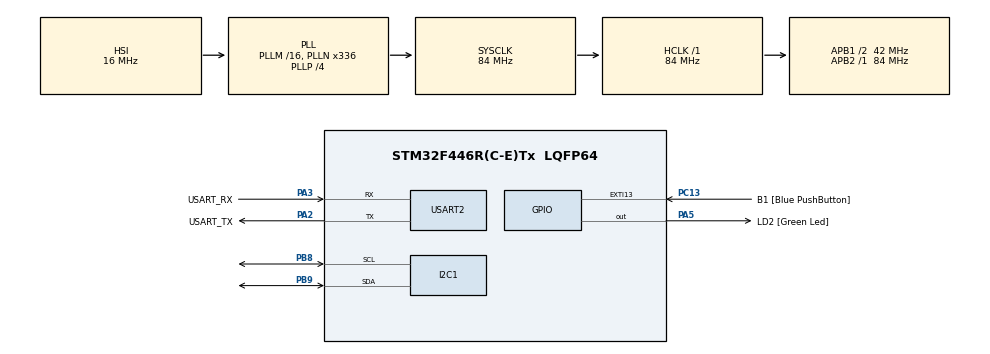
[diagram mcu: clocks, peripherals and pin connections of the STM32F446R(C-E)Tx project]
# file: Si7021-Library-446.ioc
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Mcu.Family=STM32F4
Mcu.Name=STM32F446R(C-E)Tx
Mcu.Package=LQFP64
NVIC.PriorityGroup=NVIC_PRIORITYGROUP_0
PA13.GPIO_Label=TMS
PA13.Mode=Serial_Wire
PA13.Signal=SYS_JTMS-SWDIO
PA14.GPIO_Label=TCK
PA14.Mode=Serial_Wire
PA14.Signal=SYS_JTCK-SWCLK
PA2.GPIO_Label=USART_TX
PA2.Mode=Asynchronous
PA2.Signal=USART2_TX
PA3.GPIO_Label=USART_RX
PA3.Mode=Asynchronous
PA3.Signal=USART2_RX
PA5.GPIO_Label=LD2 [Green Led]
PA5.Signal=GPIO_Output
PB3.GPIO_Label=SWO
PB3.Signal=SYS_JTDO-SWO
PB8.Mode=I2C
PB8.Signal=I2C1_SCL
PB9.Mode=I2C
PB9.Signal=I2C1_SDA
PC13.GPIO_Label=B1 [Blue PushButton]
PC13.GPIO_ModeDefaultEXTI=GPIO_MODE_IT_FALLING
PC13.Signal=GPXTI13
PC14-OSC32_IN.Mode=LSE-External-Oscillator
PC14-OSC32_IN.Signal=RCC_OSC32_IN
PC15-OSC32_OUT.Mode=LSE-External-Oscillator
PC15-OSC32_OUT.Signal=RCC_OSC32_OUT
PH0-OSC_IN.Mode=HSE-External-Oscillator
PH0-OSC_IN.Signal=RCC_OSC_IN
PH1-OSC_OUT.Mode=HSE-External-Oscillator
PH1-OSC_OUT.Signal=RCC_OSC_OUT
ProjectManager.HeapSize=0x200
ProjectManager.StackSize=0x400
ProjectManager.TargetToolchain=STM32CubeIDE
RCC.48MHZClocksFreq_Value=84000000
RCC.AHBFreq_Value=84000000
RCC.APB1CLKDivider=RCC_HCLK_DIV2
RCC.APB1Freq_Value=42000000
RCC.APB1TimFreq_Value=84000000
RCC.APB2Freq_Value=84000000
RCC.APB2TimFreq_Value=84000000
RCC.CortexFreq_Value=84000000
RCC.FLatency-AdvancedSettings=FLASH_LATENCY_2
RCC.HCLKFreq_Value=84000000
RCC.HSE_VALUE=8000000
RCC.HSI_VALUE=16000000
RCC.PLLN=336
RCC.PLLP=RCC_PLLP_DIV4
RCC.SYSCLKFreq_VALUE=84000000
RCC.SYSCLKSource=RCC_SYSCLKSOURCE_PLLCLK
RCC.USBFreq_Value=168000000
RCC.VCOOutputFreq_Value=336000000
USART2.VirtualMode=VM_ASYNC
board=NUCLEO-F446RE

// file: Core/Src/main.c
/* USER CODE BEGIN Header */
/**
  ******************************************************************************
  * @file           : main.c
  * @brief          : Main program body
  ******************************************************************************
  * @attention
  *
  * Copyright (c) 2022 STMicroelectronics.
  * All rights reserved.
  *
  * This software is licensed under terms that can be found in the LICENSE file
  * in the root directory of this software component.
  * If no LICENSE file comes with this software, it is provided AS-IS.
  *
  ******************************************************************************
  */
/* USER CODE END Header */
#include "main.h"

/* USER CODE BEGIN Includes */
#include "si7021.h"
#include "string.h"
/* USER CODE END Includes */

I2C_HandleTypeDef hi2c1;

UART_HandleTypeDef huart2;

void SystemClock_Config(void);
static void MX_GPIO_Init(void);
static void MX_USART2_UART_Init(void);
static void MX_I2C1_Init(void);

/* USER CODE BEGIN 0 */

// for UART
uint8_t buf_uart[10];
char str[11] = {'-', '-', '-', '-', '-', '-', '-', '-', '-', '\r', '\n'};

/* USER CODE END 0 */

int main(void)
{

  /* MCU Configuration--------------------------------------------------------*/

  /* Reset of all peripherals, Initializes the Flash interface and the Systick. */
  HAL_Init();

  /* Configure the system clock */
  SystemClock_Config();

  /* Initialize all configured peripherals */
  MX_GPIO_Init();
  MX_USART2_UART_Init();
  MX_I2C1_Init();
  /* USER CODE BEGIN 2 */

  Si7021 Sensor;
  Sensor.address = 0x40 << 1;
  Sensor.i2c_handle = &hi2c1;

  Si7021_Reset(&Sensor);

  uint8_t mode;

  /* USER CODE END 2 */

  /* Infinite loop */
  while (1)
  {

    /* USER CODE BEGIN 3 */

	float temp;
	float hum;

	// change this mode
	mode = 0; // 0 for getting data, 1 for hold mode, 2 for no hold mode

	if(mode == 0)
	{
		Si7021_GetData(&temp, &hum, &Sensor);
	}
	else if(mode == 1)
	{
		temp = Si7021_GetTemp(&Sensor);
		hum = Si7021_GetRelHum(&Sensor);
	}
	else if(mode == 2)
	{
		Si7021_Start_NoHold_Temp(&Sensor);
		Si7021_Start_NoHold_Hum(&Sensor);

		HAL_Delay(25); // this is just example, you need some time to pass, at least 25ms for both sensors to read

		if(!Si7021_IsIDLE_Temperature(&Sensor)) temp = Si7021_Get_NoHold_Temp(&Sensor);
	}

	// for displaying it, for UART
	char temperature[20]; //size of the number
	char humidity[20];

	//sprintf(temperature, "%e\r\n", temp);
	sprintf(temperature, "TEMP: %li C\r\n", (uint32_t)temp);
	sprintf(humidity, "HUM: %li %%\r\n", (uint32_t)(hum));

	HAL_UART_Transmit(&huart2, (uint8_t*)temperature, strlen(temperature), HAL_MAX_DELAY);
	HAL_UART_Transmit(&huart2, (uint8_t*)humidity, strlen(humidity), HAL_MAX_DELAY);
	HAL_UART_Transmit(&huart2, &str, strlen(str), HAL_MAX_DELAY);

	HAL_Delay(2000);
  }
  /* USER CODE END 3 */
}

void SystemClock_Config(void)
{
  RCC_OscInitTypeDef RCC_OscInitStruct = {0};
  RCC_ClkInitTypeDef RCC_ClkInitStruct = {0};

  /** Configure the main internal regulator output voltage
  */
  __HAL_RCC_PWR_CLK_ENABLE();
  __HAL_PWR_VOLTAGESCALING_CONFIG(PWR_REGULATOR_VOLTAGE_SCALE3);

  /** Initializes the RCC Oscillators according to the specified parameters
  * in the RCC_OscInitTypeDef structure.
  */
  RCC_OscInitStruct.OscillatorType = RCC_OSCILLATORTYPE_HSI;
  RCC_OscInitStruct.HSIState = RCC_HSI_ON;
  RCC_OscInitStruct.HSICalibrationValue = RCC_HSICALIBRATION_DEFAULT;
  RCC_OscInitStruct.PLL.PLLState = RCC_PLL_ON;
  RCC_OscInitStruct.PLL.PLLSource = RCC_PLLSOURCE_HSI;
  RCC_OscInitStruct.PLL.PLLM = 16;
  RCC_OscInitStruct.PLL.PLLN = 336;
  RCC_OscInitStruct.PLL.PLLP = RCC_PLLP_DIV4;
  RCC_OscInitStruct.PLL.PLLQ = 2;
  RCC_OscInitStruct.PLL.PLLR = 2;
  if (HAL_RCC_OscConfig(&RCC_OscInitStruct) != HAL_OK)
  {
    Error_Handler();
  }

  /** Initializes the CPU, AHB and APB buses clocks
  */
  RCC_ClkInitStruct.ClockType = RCC_CLOCKTYPE_HCLK|RCC_CLOCKTYPE_SYSCLK
                              |RCC_CLOCKTYPE_PCLK1|RCC_CLOCKTYPE_PCLK2;
  RCC_ClkInitStruct.SYSCLKSource = RCC_SYSCLKSOURCE_PLLCLK;
  RCC_ClkInitStruct.AHBCLKDivider = RCC_SYSCLK_DIV1;
  RCC_ClkInitStruct.APB1CLKDivider = RCC_HCLK_DIV2;
  RCC_ClkInitStruct.APB2CLKDivider = RCC_HCLK_DIV1;

  if (HAL_RCC_ClockConfig(&RCC_ClkInitStruct, FLASH_LATENCY_2) != HAL_OK)
  {
    Error_Handler();
  }
}

static void MX_I2C1_Init(void)
{

  hi2c1.Instance = I2C1;
  hi2c1.Init.ClockSpeed = 100000;
  hi2c1.Init.DutyCycle = I2C_DUTYCYCLE_2;
  hi2c1.Init.OwnAddress1 = 0;
  hi2c1.Init.AddressingMode = I2C_ADDRESSINGMODE_7BIT;
  hi2c1.Init.DualAddressMode = I2C_DUALADDRESS_DISABLE;
  hi2c1.Init.OwnAddress2 = 0;
  hi2c1.Init.GeneralCallMode = I2C_GENERALCALL_DISABLE;
  hi2c1.Init.NoStretchMode = I2C_NOSTRETCH_DISABLE;
  if (HAL_I2C_Init(&hi2c1) != HAL_OK)
  {
    Error_Handler();
  }

}

static void MX_USART2_UART_Init(void)
{

  huart2.Instance = USART2;
  huart2.Init.BaudRate = 115200;
  huart2.Init.WordLength = UART_WORDLENGTH_8B;
  huart2.Init.StopBits = UART_STOPBITS_1;
  huart2.Init.Parity = UART_PARITY_NONE;
  huart2.Init.Mode = UART_MODE_TX_RX;
  huart2.Init.HwFlowCtl = UART_HWCONTROL_NONE;
  huart2.Init.OverSampling = UART_OVERSAMPLING_16;
  if (HAL_UART_Init(&huart2) != HAL_OK)
  {
    Error_Handler();
  }

}

static void MX_GPIO_Init(void)
{
  GPIO_InitTypeDef GPIO_InitStruct = {0};

  /* GPIO Ports Clock Enable */
  __HAL_RCC_GPIOC_CLK_ENABLE();
  __HAL_RCC_GPIOH_CLK_ENABLE();
  __HAL_RCC_GPIOA_CLK_ENABLE();
  __HAL_RCC_GPIOB_CLK_ENABLE();

  /*Configure GPIO pin Output Level */
  HAL_GPIO_WritePin(LD2_GPIO_Port, LD2_Pin, GPIO_PIN_RESET);

  /*Configure GPIO pin : B1_Pin */
  GPIO_InitStruct.Pin = B1_Pin;
  GPIO_InitStruct.Mode = GPIO_MODE_IT_FALLING;
  GPIO_InitStruct.Pull = GPIO_NOPULL;
  HAL_GPIO_Init(B1_GPIO_Port, &GPIO_InitStruct);

  /*Configure GPIO pin : LD2_Pin */
  GPIO_InitStruct.Pin = LD2_Pin;
  GPIO_InitStruct.Mode = GPIO_MODE_OUTPUT_PP;
  GPIO_InitStruct.Pull = GPIO_NOPULL;
  GPIO_InitStruct.Speed = GPIO_SPEED_FREQ_LOW;
  HAL_GPIO_Init(LD2_GPIO_Port, &GPIO_InitStruct);

}

void Error_Handler(void)
{
  __disable_irq();
  while (1)
  {
  }
}
